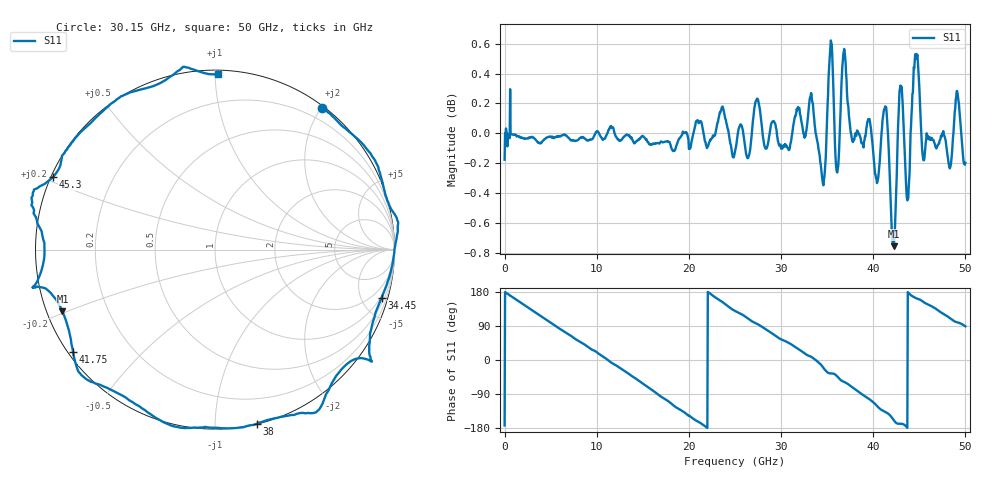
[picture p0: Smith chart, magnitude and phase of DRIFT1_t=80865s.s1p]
!Created with skrf (http://scikit-rf.org).
# Hz S RI R 50.0
!freq ReS11 ImS11
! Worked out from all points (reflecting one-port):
!   1001 points, 300 kHz to 50 GHz, reference 50 ohm
!   lowest |S11| = -0.8 dB at 42.2 GHz (marker M1), VSWR 23.08, Z = 2.25 - j9.74 ohm
!   phase of S11 starts at -173 deg and turns -818 deg over the sweep
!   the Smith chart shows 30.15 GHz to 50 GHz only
!   S11 on the Smith chart (normalised r, x): 30.15 GHz: 0.03, +2.01; 34.45 GHz: 0.86, -6.99; 38 GHz: 0.00, -1.27; 41.75 GHz: 0.01, -0.32; 45.3 GHz: 0.01, +0.21; 50 GHz: 0.02, +1.02
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300000  -0.9723 -0.1219
1.450291e9  -0.9124 0.4041
3.25028e9  -0.5931 0.8002
6.250262e9  0.1985 0.9787
9.500243e9  0.8872 0.4518
1.250022e10  0.9298 -0.3521
1.580021e10  0.2427 -0.9611
1.73502e10  -0.2113 -0.9707
1.875019e10  -0.5985 -0.7923
2.165017e10  -0.9906 -0.1218
2.345016e10  -0.9304 0.4118
2.500015e10  -0.6266 0.7609
2.745014e10  -0.0834 1.024
3.015012e10  0.596 0.7886
3.125011e10  0.7811 0.6277
3.32001e10  1.015 0.1637
3.445009e10  0.929 -0.2673
3.520009e10  0.8658 -0.5962
3.750008e10  0.3787 -0.9302
3.800007e10  0.2326 -0.9707
3.965006e10  -0.2547 -0.9756
4.175005e10  -0.7909 -0.5706
4.220005e10  -0.8497 -0.3447
4.290004e10  -1.013 -0.2105
4.375004e10  -0.9504 0.0119
4.530003e10  -0.9018 0.4049
4.765001e10  -0.5135 0.8575
5e10  0.0188 0.9775
